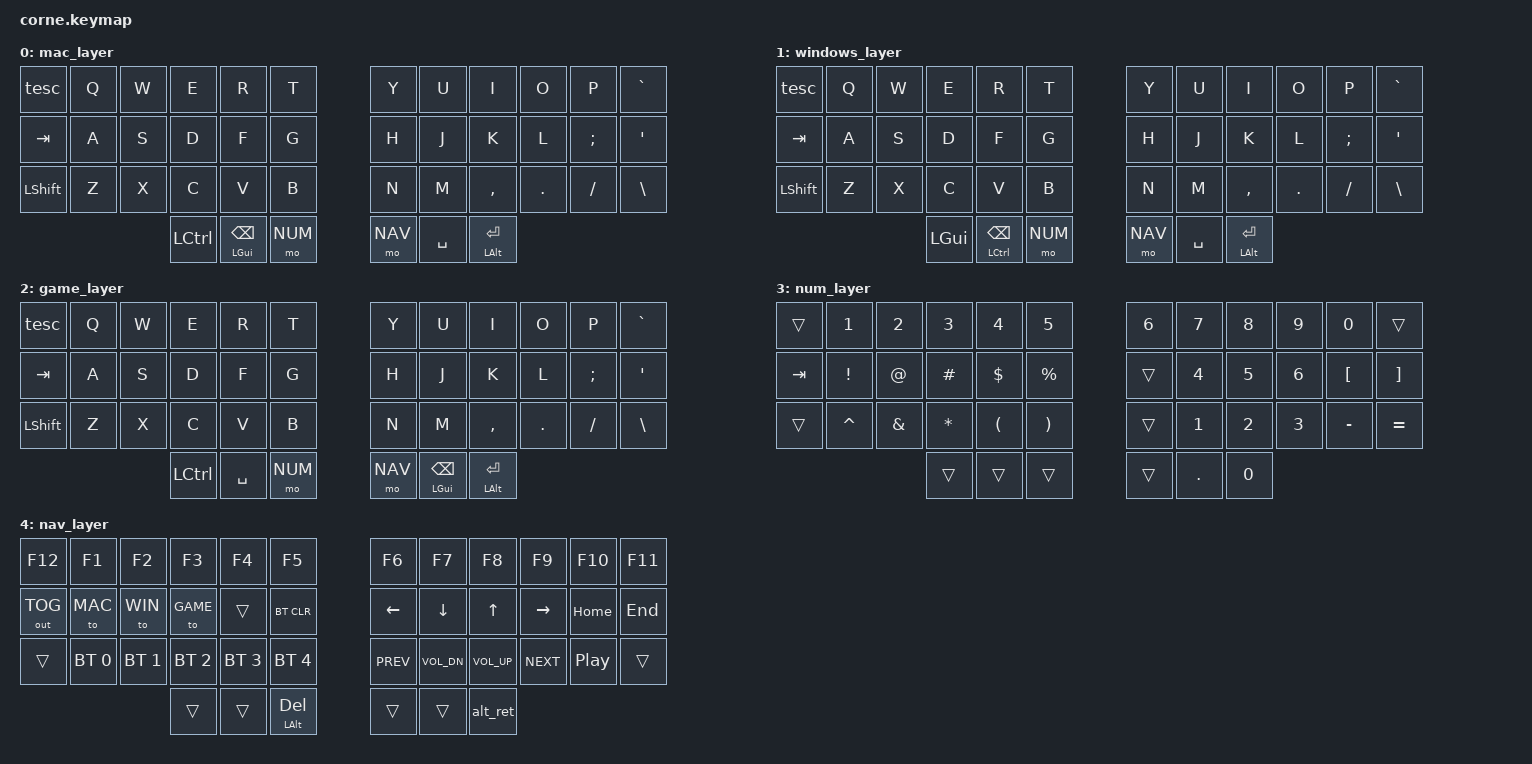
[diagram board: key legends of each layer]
/*
 * Copyright (c) 2020 The ZMK Contributors
 *
 * SPDX-License-Identifier: MIT
 */

#include <behaviors.dtsi>
#include <dt-bindings/zmk/keys.h>
#include <dt-bindings/zmk/bt.h>
#include <dt-bindings/zmk/outputs.h>

#define MAC 0
#define WIN 1
#define GAME 2
#define NUM 3
#define NAV 4

/*
 * west build -b nice_nano_v2 -d build/left -- -DSHIELD=corne_left 
 * west build -b nice_nano_v2 -d build/right -- -DSHIELD=corne_right
 */

/ {

    behaviors {
        tesc: tilde_escape {
                compatible = "zmk,behavior-mod-morph";
                #binding-cells = <0>;
                bindings = <&kp ESC>, <&kp TILDE>;
                mods = <(MOD_LSFT|MOD_RSFT)>;
        };
    };

    macros {
        alt_ret: alt_ret {
            compatible = "zmk,behavior-macro";
            #binding-cells = <0>;
            bindings
                = <&macro_press &kp LALT>
                , <&macro_tap &kp RET>
                , <&macro_release &kp LALT>
                ;
        };

        alt_tab: alt_tab {
            compatible = "zmk,behavior-macro";
            #binding-cells = <0>;
            bindings
                = <&macro_press &kp LALT>
                , <&macro_tap &kp TAB>
                , <&macro_release &kp LALT>
                ;
        };
    };

    keymap {
        compatible = "zmk,keymap";

        mac_layer {
            bindings = <
                &tesc     &kp Q  &kp W    &kp E    &kp R    &kp T               &kp Y     &kp U   &kp I     &kp O   &kp P    &kp GRAVE
                &kp TAB   &kp A  &kp S    &kp D    &kp F    &kp G               &kp H     &kp J   &kp K     &kp L   &kp SEMI &kp SQT
                &kp LSHFT &kp Z  &kp X    &kp C    &kp V    &kp B               &kp N     &kp M   &kp COMMA &kp DOT &kp FSLH &kp BSLH
                                    &kp LCTRL &mt LGUI BSPC &mo NUM             &mo NAV &kp SPACE &mt LALT RET
            >;
        };

        windows_layer {
            bindings = <
                &tesc     &kp Q  &kp W    &kp E    &kp R    &kp T               &kp Y     &kp U   &kp I     &kp O   &kp P    &kp GRAVE
                &kp TAB   &kp A  &kp S    &kp D    &kp F    &kp G               &kp H     &kp J   &kp K     &kp L   &kp SEMI &kp SQT
                &kp LSHFT &kp Z  &kp X    &kp C    &kp V    &kp B               &kp N     &kp M   &kp COMMA &kp DOT &kp FSLH &kp BSLH
                                    &kp LGUI &mt LCTRL BSPC &mo NUM             &mo NAV &kp SPACE &mt LALT RET
            >;
        };
        
        game_layer {
            bindings = <
                &tesc     &kp Q  &kp W    &kp E    &kp R    &kp T               &kp Y     &kp U   &kp I     &kp O   &kp P    &kp GRAVE
                &kp TAB   &kp A  &kp S    &kp D    &kp F    &kp G               &kp H     &kp J   &kp K     &kp L   &kp SEMI &kp SQT
                &kp LSHFT &kp Z  &kp X    &kp C    &kp V    &kp B               &kp N     &kp M   &kp COMMA &kp DOT &kp FSLH &kp BSLH
                                        &kp LCTRL &kp SPACE &mo NUM             &mo NAV &mt LGUI BSPC &mt LALT RET
            >;
        };

        num_layer {
            bindings = <
                &trans &kp N1    &kp N2   &kp N3   &kp N4   &kp N5              &kp N6    &kp N7  &kp N8    &kp N9  &kp N0   &trans
                &kp TAB &kp EXCL  &kp AT   &kp HASH &kp DLLR &kp PRCNT         &trans    &kp N4  &kp N5    &kp N6  &kp LBKT &kp RBKT
                &trans &kp CARET &kp AMPS &kp STAR &kp LPAR &kp RPAR            &trans    &kp N1  &kp N2    &kp N3  &kp MINUS &kp EQUAL
                                        &trans   &trans   &trans               &trans    &kp DOT &kp N0
            >;
        };
        
        nav_layer {
            bindings = <
                &kp F12      &kp F1        &kp F2       &kp F3       &kp F4        &kp F5               &kp F6   &kp F7      &kp F8       &kp F9        &kp F10     &kp F11
                &out OUT_TOG &to MAC       &to WIN      &to GAME     &trans        &bt BT_CLR           &kp LEFT   &kp DOWN    &kp UP     &kp RIGHT     &kp HOME    &kp END
                &trans       &bt BT_SEL 0  &bt BT_SEL 1 &bt BT_SEL 2 &bt BT_SEL 3  &bt BT_SEL 4         &kp C_PREV &kp C_VOL_DN  &kp C_VOL_UP &kp C_NEXT  &kp C_PP  &trans
                                                                    &trans &trans  &mt LALT DEL             &trans &trans &alt_ret
            >;
        };

    };
};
